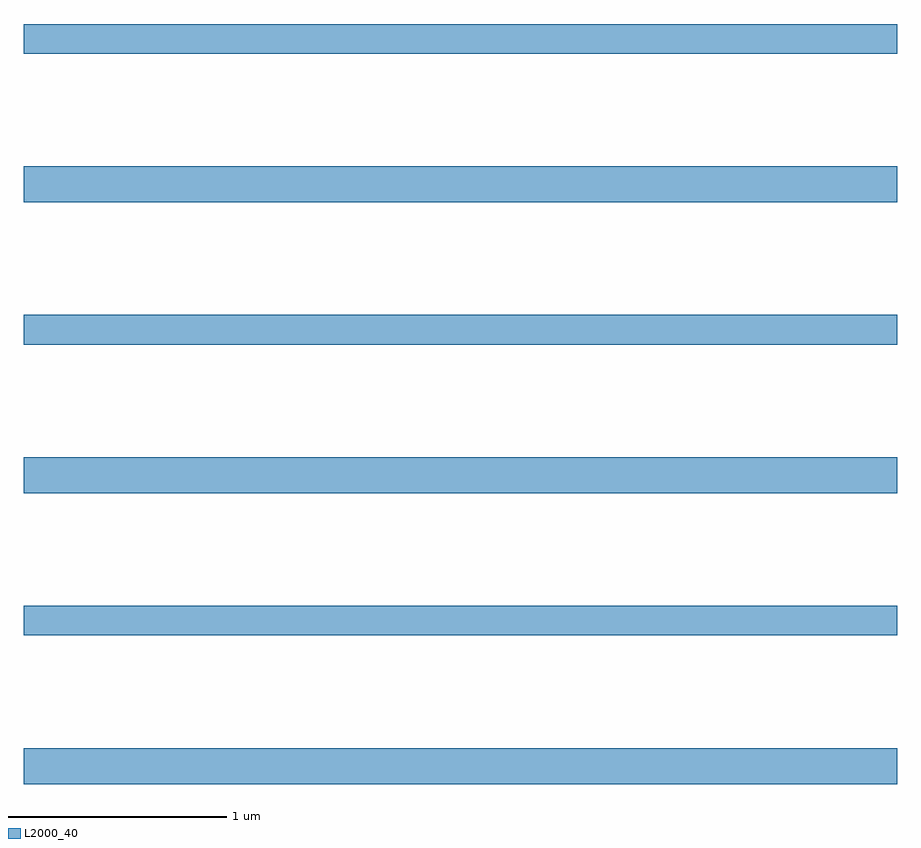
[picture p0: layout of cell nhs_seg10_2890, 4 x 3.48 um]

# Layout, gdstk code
import gdstk
lib = gdstk.Library(unit=1e-6, precision=1e-09)
def R(c, l, rs):  # rectangles x0, y0, x1, y1
    for r in rs: c.add(gdstk.rectangle(r[:2], r[2:], *l))
def A(c, l, x, y, w, h, nx, ny, dx, dy):  # array of equal rectangles
    R(c, l, [(x+i*dx, y+j*dy, x+i*dx+w, y+j*dy+h) for i in range(nx) for j in range(ny)])
L2000_40 = (2000, 40)

nhs_seg10_2890 = lib.new_cell('nhs_seg10_2890')
A(nhs_seg10_2890, L2000_40, 267, 1314.968, 4, 0.164, 1, 3, 0, 1.332)
A(nhs_seg10_2890, L2000_40, 267, 1315.648, 4, 0.136, 1, 3, 0, 1.332)

lib.write_gds('nhs_seg10_2890.gds')
